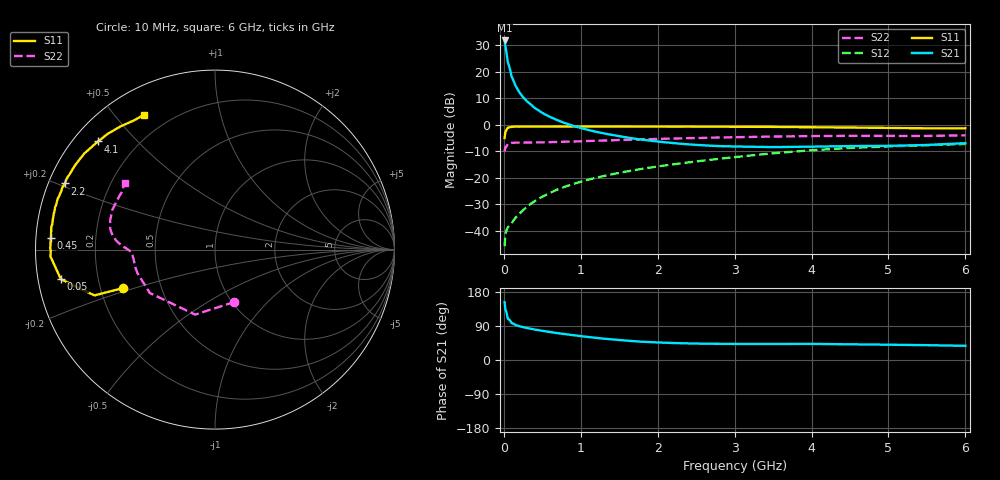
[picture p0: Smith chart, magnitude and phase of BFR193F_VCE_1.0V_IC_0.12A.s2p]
! Infineon Technologies  Discrete & RF Semiconductors
! BFR193F
! VCE =  1.0 V,  IC = 0.12 A
! Common Emitter S-Parameters:  Jan 2017
# GHz  S  MA  R  50
!  f  S11  S21  S12  S22
! GHz  MAG  ANG  MAG  ANG  MAG  ANG  MAG  ANG
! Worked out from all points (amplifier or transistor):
!   77 points, 10 MHz to 6 GHz, reference 50 ohm
!   highest |S21| = 31.7 dB at 10 MHz (marker M1)
!   |S21| within 3 dB of that: start of sweep to 25.03 MHz
!   unconditionally stable (mu >= 1): start of sweep to 18.43 MHz; 155.4 MHz to end of sweep
!   at 130 MHz: K = 0.96, MSG = 26.1 dB, |S12| = -36.0 dB
!   at 2.2 GHz: K = 1.17, MAG = 1.5 dB, |S12| = -15.0 dB
!   at 6 GHz: K = 1.07, MAG = -1.5 dB, |S12| = -7.3 dB
!   S11 on the Smith chart (normalised r, x): 10 MHz: 0.29, -0.18; 50 MHz: 0.07, -0.09; 450 MHz: 0.04, +0.04; 2.2 GHz: 0.05, +0.21; 4.1 GHz: 0.07, +0.39; 6 GHz: 0.11, +0.60
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0.01  0.5586 -157.3  38.47 152.6  0.0051 58.0  0.311 -69.7
0.02  0.7186 -159.2  29.98 133.1  0.0087 45.7  0.3787 -107.0
0.05  0.8742 -169.1  15.39 109.5  0.0115 38.6  0.4365 -146.4
0.1  0.9035 -175.3  8.095 97.7  0.0136 45.7  0.4513 -163.0
0.15  0.9178 -177.7  5.463 92.7  0.0174 53.1  0.4561 -168.6
0.2  0.9149 -179.4  4.099 89.1  0.0206 58.9  0.4554 -171.3
0.25  0.9184 179.4  3.281 86.7  0.0242 62.8  0.457 -173.5
0.3  0.9168 178.4  2.741 84.4  0.0282 66.1  0.4587 -174.5
0.4  0.9174 176.6  2.06 80.3  0.0358 69.5  0.4604 -176.3
0.45  0.9173 175.9  1.858 78.8  0.0398 70.7  0.4612 -176.8
0.5  0.9173 175.2  1.658 77.0  0.0438 71.7  0.462 -177.3
0.6  0.9181 173.8  1.393 73.9  0.0513 72.9  0.466 -178.1
0.7  0.9208 172.2  1.203 70.8  0.0599 73.8  0.47 -178.6
0.9  0.9187 169.7  0.949 65.5  0.0755 74.9  0.4794 -179.6
1.1  0.9201 167.5  0.789 60.6  0.0916 74.6  0.4903 179.7
1.6  0.9208 162.1  0.571 51.1  0.1309 73.4  0.5166 177.5
2.1  0.9161 157.2  0.463 45.6  0.1698 71.6  0.5403 175.8
2.2  0.9141 156.2  0.448 44.8  0.1777 71.1  0.5441 175.5
3.1  0.9081 147.6  0.384 42.4  0.2516 66.2  0.5802 171.4
4.1  0.8871 137.2  0.385 42.3  0.3343 58.0  0.6074 163.2
5.1  0.8611 126.3  0.4 40.1  0.3911 48.9  0.6108 151.9
6  0.8489 117.7  0.446 37.5  0.4297 42.5  0.6265 143.4
